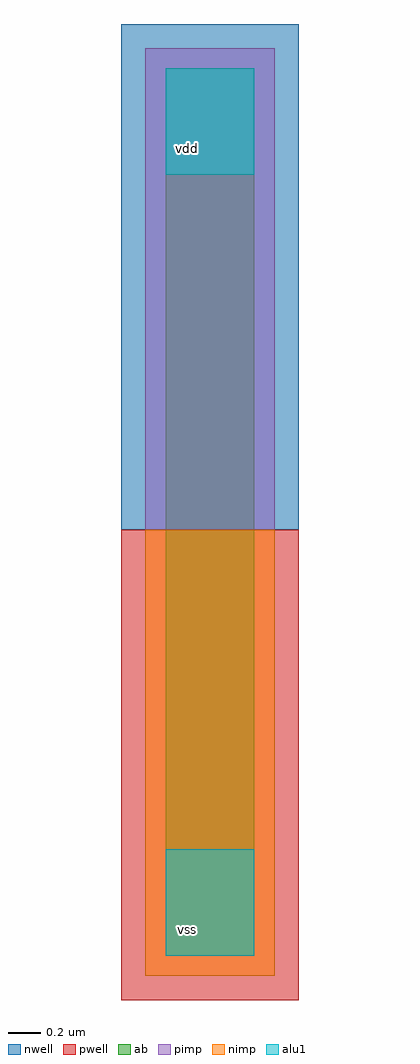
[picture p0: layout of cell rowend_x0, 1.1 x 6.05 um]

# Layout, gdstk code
import gdstk
lib = gdstk.Library(unit=1e-6, precision=2.5e-09)
def R(c, l, rs):  # rectangles x0, y0, x1, y1
    for r in rs: c.add(gdstk.rectangle(r[:2], r[2:], *l))
pwell = (41, 0)
nwell = (42, 0)
pimp = (44, 0)
nimp = (45, 0)
alu1 = (49, 0)
ab = (63, 0)

rowend_x0 = lib.new_cell('rowend_x0')
R(rowend_x0, pwell, [(-0.275,-0.275,0.825,2.64)])
R(rowend_x0, nwell, [(-0.275,2.64,0.825,5.775)])
R(rowend_x0, pimp, [(-0.125,2.64,0.675,5.625)])
R(rowend_x0, nimp, [(-0.125,-0.125,0.675,2.64)])
R(rowend_x0, alu1, [(0,0,0.55,0.66), (0,4.84,0.55,5.5)])
R(rowend_x0, ab, [(0,0,0.55,5.5)])
rowend_x0.add(gdstk.Label('vss', (0.1375,0.165), layer=49, texttype=0))
rowend_x0.add(gdstk.Label('vdd', (0.1375,5.005), layer=49, texttype=0))

lib.write_gds('rowend_x0.gds')
